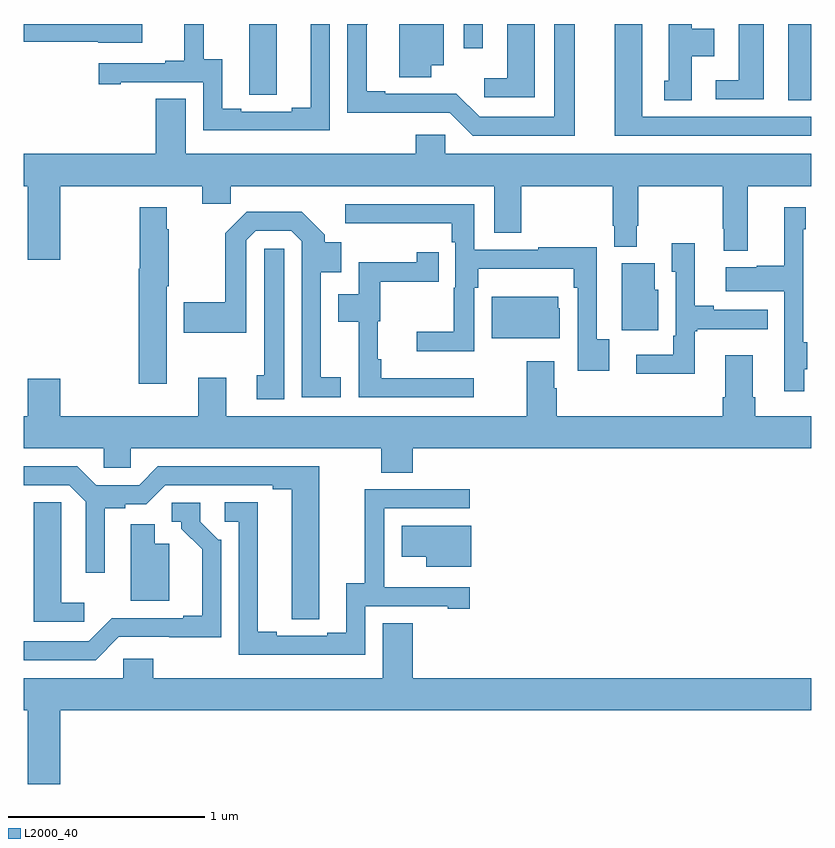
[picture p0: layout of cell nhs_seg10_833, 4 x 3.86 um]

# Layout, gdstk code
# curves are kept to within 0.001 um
import gdstk
lib = gdstk.Library(unit=1e-6, precision=1e-09)
def R(c, l, rs):  # rectangles x0, y0, x1, y1
    for r in rs: c.add(gdstk.rectangle(r[:2], r[2:], *l))
def P(c, l, *ps):  # polygons
    for p in ps: c.add(gdstk.Polygon(p, *l))
L2000_40 = (2000, 40)

nhs_seg10_833 = lib.new_cell('nhs_seg10_833')
R(nhs_seg10_833, L2000_40, [(156.884,1274.113,157,1274.5), (155.235,1274.376,155.331,1274.5)])
P(nhs_seg10_833, L2000_40, [(155.8,1274.5),(155.696,1274.5),(155.696,1274.028),(155.316,1274.028),(155.198,1274.146),(154.837,1274.145),(154.837,1274.158),(154.741,1274.158),(154.741,1274.494),(154.747,1274.5),(154.644,1274.5),(154.644,1274.048),(155.163,1274.049),(155.28,1273.932),(155.8,1273.932)],
  [(153.601,1274.5),(153,1274.5),(153,1274.411),(153.378,1274.411),(153.378,1274.405),(153.601,1274.405)],
  [(156.76,1274.5),(156.632,1274.5),(156.632,1274.214),(156.516,1274.214),(156.516,1274.118),(156.76,1274.118)],
  [(154.285,1274.5),(154.145,1274.5),(154.145,1274.248),(154.146,1274.248),(154.146,1274.14),(154.285,1274.14)],
  [(157,1274.028),(156.142,1274.028),(156.142,1274.5),(156.002,1274.5),(156.002,1273.932),(157,1273.932)],
  [(155.071,1274.291),(155.134,1274.291),(155.134,1274.5),(154.907,1274.5),(154.907,1274.23),(155.071,1274.23)],
  [(155.596,1274.5),(155.456,1274.5),(155.456,1274.224),(155.34,1274.224),(155.34,1274.127),(155.596,1274.127)],
  [(154.554,1274.5),(154.457,1274.5),(154.457,1274.075),(154.361,1274.075),(154.361,1274.055),(154.105,1274.055),(154.105,1274.07),(154.009,1274.07),(154.009,1274.321),(153.915,1274.321),(153.915,1274.5),(153.815,1274.5),(153.815,1274.314),(153.719,1274.314),(153.719,1274.301),(153.381,1274.301),(153.381,1274.193),(153.493,1274.193),(153.493,1274.205),(153.912,1274.205),(153.912,1273.959),(154.554,1273.959)],
  [(156.394,1274.336),(156.508,1274.336),(156.508,1274.476),(156.394,1274.476),(156.394,1274.5),(156.278,1274.5),(156.278,1274.211),(156.254,1274.211),(156.254,1274.113),(156.394,1274.113)],
  [(153.184,1273.676),(153.905,1273.676),(153.905,1273.586),(154.052,1273.586),(154.052,1273.676),(155.39,1273.676),(155.39,1273.44),(155.526,1273.44),(155.526,1273.676),(155.992,1273.676),(155.992,1273.474),(155.999,1273.474),(155.999,1273.369),(156.115,1273.369),(156.115,1273.474),(156.123,1273.474),(156.123,1273.676),(156.55,1273.676),(156.55,1273.459),(156.557,1273.459),(156.557,1273.349),(156.679,1273.349),(156.679,1273.676),(157,1273.676),(157,1273.84),(155.142,1273.84),(155.142,1273.938),(154.991,1273.938),(154.991,1273.84),(153.823,1273.84),(153.823,1274.12),(153.671,1274.12),(153.671,1273.84),(153,1273.84),(153,1273.676),(153.02,1273.676),(153.02,1273.302),(153.184,1273.302)],
  [(155.974,1272.897),(155.91,1272.897),(155.91,1273.366),(155.614,1273.366),(155.614,1273.353),(155.289,1273.353),(155.289,1273.584),(154.632,1273.584),(154.632,1273.487),(155.173,1273.487),(155.173,1273.391),(155.193,1273.391),(155.193,1273.16),(155.183,1273.16),(155.183,1272.936),(154.995,1272.936),(154.995,1272.836),(155.289,1272.836),(155.289,1273.16),(155.309,1273.16),(155.309,1273.256),(155.794,1273.256),(155.794,1273.16),(155.814,1273.16),(155.814,1272.738),(155.974,1272.738)],
  [(156.965,1272.745),(156.98,1272.745),(156.98,1272.884),(156.961,1272.884),(156.961,1273.457),(156.973,1273.457),(156.973,1273.57),(156.863,1273.57),(156.863,1273.272),(156.723,1273.272),(156.723,1273.264),(156.567,1273.264),(156.567,1273.142),(156.864,1273.142),(156.864,1272.899),(156.863,1272.899),(156.863,1272.633),(156.965,1272.633)],
  [(153.727,1273.168),(153.735,1273.168),(153.735,1273.457),(153.727,1273.457),(153.727,1273.57),(153.589,1273.57),(153.589,1273.257),(153.584,1273.257),(153.584,1272.672),(153.727,1272.672)],
  [(154.609,1272.704),(154.509,1272.704),(154.509,1273.238),(154.612,1273.238),(154.612,1273.39),(154.529,1273.39),(154.529,1273.429),(154.412,1273.546),(154.132,1273.546),(154.023,1273.436),(154.023,1273.085),(153.812,1273.085),(153.812,1272.932),(154.131,1272.932),(154.131,1273.401),(154.179,1273.449),(154.359,1273.449),(154.413,1273.395),(154.413,1272.603),(154.609,1272.603)],
  [(156.409,1272.939),(156.421,1272.939),(156.421,1272.95),(156.779,1272.95),(156.779,1273.047),(156.505,1273.047),(156.505,1273.067),(156.409,1273.067),(156.409,1273.387),(156.293,1273.387),(156.293,1273.242),(156.312,1273.242),(156.312,1272.916),(156.3,1272.916),(156.3,1272.819),(156.111,1272.819),(156.111,1272.722),(156.409,1272.722)],
  [(154.324,1273.359),(154.22,1273.359),(154.22,1272.714),(154.184,1272.714),(154.184,1272.594),(154.324,1272.594)],
  [(155.287,1272.7),(154.817,1272.7),(154.817,1272.796),(154.799,1272.796),(154.799,1272.99),(154.81,1272.99),(154.81,1273.19),(155.108,1273.19),(155.108,1273.339),(154.997,1273.339),(154.997,1273.289),(154.701,1273.289),(154.701,1273.126),(154.598,1273.126),(154.598,1272.986),(154.701,1272.986),(154.701,1272.603),(155.287,1272.603)],
  [(156.223,1273.149),(156.205,1273.149),(156.205,1273.284),(156.038,1273.284),(156.038,1273.048),(156.039,1273.048),(156.039,1272.945),(156.223,1272.945)],
  [(155.722,1273.056),(155.716,1273.056),(155.716,1273.114),(155.378,1273.114),(155.378,1272.902),(155.722,1272.902)],
  [(154.976,1272.344),(157,1272.344),(157,1272.508),(156.716,1272.508),(156.716,1272.604),(156.703,1272.604),(156.703,1272.817),(156.563,1272.817),(156.563,1272.604),(156.551,1272.604),(156.551,1272.508),(155.708,1272.508),(155.708,1272.65),(155.695,1272.65),(155.695,1272.787),(155.555,1272.787),(155.555,1272.508),(154.027,1272.508),(154.027,1272.703),(153.887,1272.703),(153.887,1272.508),(153.184,1272.508),(153.184,1272.697),(153.02,1272.697),(153.02,1272.508),(153,1272.508),(153,1272.344),(153.405,1272.344),(153.405,1272.246),(153.543,1272.246),(153.543,1272.344),(154.816,1272.344),(154.816,1272.22),(154.976,1272.22)],
  [(154.5,1271.584),(154.501,1272.252),(153.681,1272.252),(153.585,1272.156),(153.367,1272.156),(153.271,1272.252),(153,1272.252),(153,1272.156),(153.231,1272.156),(153.315,1272.072),(153.315,1271.712),(153.412,1271.712),(153.412,1272.04),(153.516,1272.04),(153.516,1272.06),(153.621,1272.06),(153.717,1272.156),(154.265,1272.156),(154.265,1272.136),(154.361,1272.136),(154.361,1271.476),(154.5,1271.476)],
  [(154.734,1271.541),(155.153,1271.541),(155.153,1271.529),(155.266,1271.529),(155.266,1271.637),(154.832,1271.637),(154.832,1271.638),(154.83,1271.638),(154.83,1272.039),(155.266,1272.039),(155.266,1272.135),(154.732,1272.135),(154.732,1271.657),(154.637,1271.657),(154.637,1271.406),(154.541,1271.406),(154.541,1271.391),(154.285,1271.391),(154.285,1271.411),(154.189,1271.411),(154.189,1272.071),(154.02,1272.071),(154.02,1271.97),(154.092,1271.97),(154.092,1271.295),(154.734,1271.295)],
  [(153.307,1271.56),(153.19,1271.56),(153.19,1271.963),(153.189,1271.963),(153.189,1272.071),(153.05,1272.071),(153.05,1271.463),(153.307,1271.463)],
  [(153.483,1271.385),(154.002,1271.384),(154.002,1271.88),(153.987,1271.88),(153.897,1271.97),(153.897,1272.066),(153.75,1272.066),(153.75,1271.97),(153.8,1271.97),(153.8,1271.935),(153.905,1271.83),(153.905,1271.494),(153.809,1271.494),(153.809,1271.481),(153.447,1271.481),(153.33,1271.364),(153,1271.364),(153,1271.268),(153.366,1271.268)],
  [(153.739,1271.86),(153.664,1271.86),(153.664,1271.959),(153.542,1271.959),(153.542,1271.57),(153.739,1271.57)],
  [(155.272,1271.95),(154.92,1271.95),(154.92,1271.792),(155.045,1271.792),(155.045,1271.741),(155.272,1271.741)],
  [(153.184,1271.012),(157,1271.012),(157,1271.176),(154.976,1271.176),(154.976,1271.456),(154.823,1271.456),(154.823,1271.176),(153.656,1271.176),(153.656,1271.274),(153.504,1271.274),(153.504,1271.176),(153,1271.176),(153,1271.012),(153.02,1271.012),(153.02,1270.638),(153.184,1270.638)])

lib.write_gds('nhs_seg10_833.gds')
